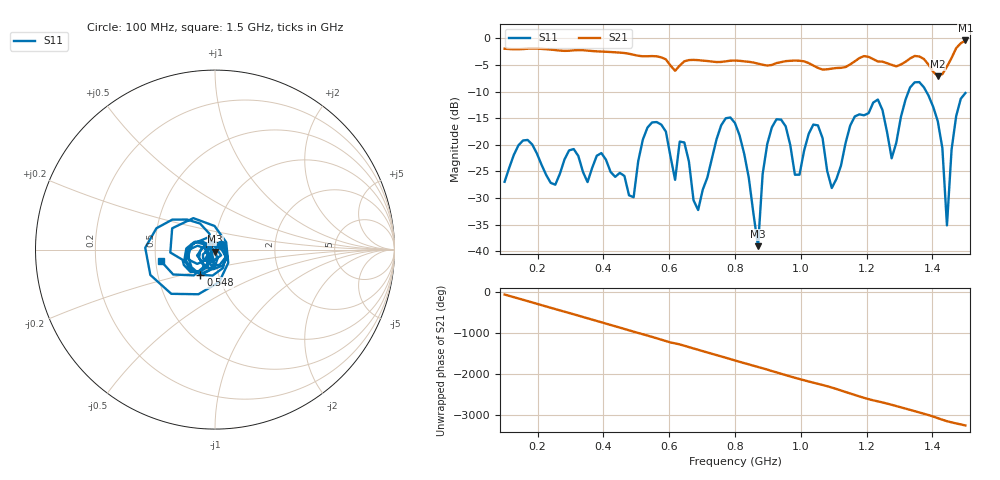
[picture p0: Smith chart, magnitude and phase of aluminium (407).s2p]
! NanoVNA-App
! Date: 2025-09-25 14:58:27
! Start: 100MHz Stop: 1,5GHz Points: 101
! S-Parameter data: F S11 S21 S12 S22
# Hz S RI R 50
!  Frequency  S11_Real  S11_Imag  S21_Real  S21_Imag  S12_Real  S12_Imag  S22_Real  S22_Imag
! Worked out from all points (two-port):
!   101 points, 100 MHz to 1.5 GHz, reference 50 ohm
!   highest |S21| = -0.37 dB at 1.5 GHz (marker M1); lowest = -7.1 dB at 1.416 GHz (marker M2)
!   |S21| within 3 dB of the highest: start of sweep to 563.1 MHz; 1.46 GHz to end of sweep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
!   lowest |S11| = -39.1 dB at 870 MHz (marker M3), VSWR 1.02, Z = 50.2 - j1.1 ohm
!   |S11| at or under -10 dB: start of sweep to 1.327 GHz; 1.381 GHz to end of sweep
!   S12 and S22 are empty: the file has one direction only
!   S11 on the Smith chart (normalised r, x): 100 MHz: 1.07, +0.06; 548 MHz: 0.82, -0.24; 1.5 GHz: 0.53, -0.08
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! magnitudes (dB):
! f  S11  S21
! 100 MHz  -27.0  -1.9
! 156 MHz  -19.2  -2.0
! 338 MHz  -25.1  -2.2
! 492 MHz  -29.9  -3.1
! 548 MHz  -15.8  -3.3
! 576 MHz  -16.2  -3.5
! 618 MHz  -26.6  -6.1
! 646 MHz  -19.6  -4.3
! 688 MHz  -32.3  -4.1
! 800 MHz  -15.9  -4.1
! 870 MHz  -39.1  -4.7
! 912 MHz  -16.7  -5.0
! 996 MHz  -25.6  -4.2
! 1.038 GHz  -16.2  -5.1
! 1.094 GHz  -28.1  -5.7
! 1.234 GHz  -11.5  -4.3
! 1.276 GHz  -22.5  -5.0
! 1.346 GHz  -8.2  -3.3
! 1.416 GHz  -15.5  -7.1
! 1.444 GHz  -35.2  -5.3
! 1.472 GHz  -14.6  -1.8
! 1.5 GHz  -10.3  -0.4
